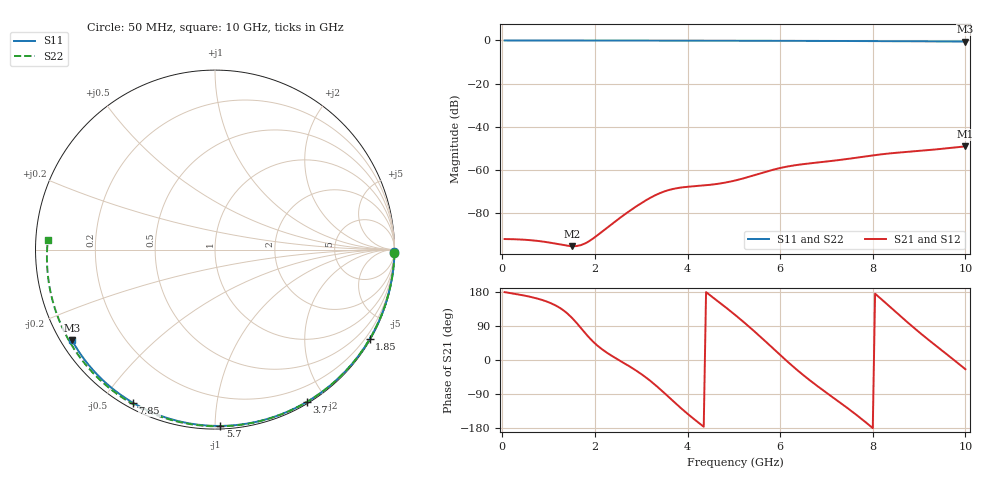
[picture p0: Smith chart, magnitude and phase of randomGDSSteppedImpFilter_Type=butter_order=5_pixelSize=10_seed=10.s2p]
! freq	dB(S11)	phase(S11)	dB(S12)	phase(S12)
!  dB(S21)	phase(S21)	dB(S22)	phase(S22)
!S-par simulation data
#  GHz  S  DB  R 50
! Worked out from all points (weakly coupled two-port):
!   200 points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, 50 MHz to 10 GHz, reference 50 ohm
!   highest |S21| = -49.10 dB at 10 GHz (marker M1); lowest = -95.3 dB at 1.5 GHz (marker M2)
!   lowest |S11| = -0.5 dB at 10 GHz (marker M3), VSWR 34.33, Z = 1.58 - j14.5 ohm
!   |S11| at or under -10 dB: nowhere
!   |S22| runs from -0.6 to 0.0 dB; largest |S21 - S12| = 0
!   S11 on the Smith chart (normalised r, x): 50 MHz: open; 1.85 GHz: 0.03, -3.72; 3.7 GHz: 0.02, -1.77; 5.7 GHz: 0.02, -1.03; 7.85 GHz: 0.02, -0.60; 10 GHz: 0.03, -0.29
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0.05  -0.00 -0.8  -91.98 179.1  -91.98 179.1  -0.00 -1.0
0.75  -0.02 -12.3  -92.81 162.4  -92.81 162.4  -0.02 -14.9
1.5  -0.03 -24.4  -95.28 111.8  -95.28 111.8  -0.04 -29.5
1.75  -0.04 -28.5  -94.35 76.7  -94.35 76.7  -0.04 -34.4
1.85  -0.04 -30.1  -93.29 62.5  -93.29 62.5  -0.05 -36.3
2.65  -0.06 -42.7  -80.47 -9.7  -80.47 -9.7  -0.07 -51.5
2.7  -0.06 -43.5  -79.70 -13.4  -79.70 -13.4  -0.07 -52.5
3.1  -0.07 -49.7  -74.05 -45.9  -74.05 -45.9  -0.08 -59.9
3.4  -0.07 -54.3  -70.74 -76.2  -70.74 -76.2  -0.09 -65.5
3.7  -0.08 -58.9  -68.71 -109.7  -68.71 -109.7  -0.10 -70.9
3.95  -0.09 -62.7  -67.89 -136.8  -67.89 -136.8  -0.10 -75.5
4.65  -0.11 -73.1  -66.42 155.6  -66.42 155.6  -0.13 -88.0
5.05  -0.12 -78.9  -64.75 116.7  -64.75 116.7  -0.15 -95.0
5.7  -0.15 -88.3  -60.75 47.2  -60.75 47.2  -0.18 -106.4
6.15  -0.17 -94.7  -58.41 -3.3  -58.41 -3.3  -0.21 -114.1
6.7  -0.20 -102.4  -56.79 -59.2  -56.79 -59.2  -0.25 -123.6
7.25  -0.24 -110.0  -55.45 -108.6  -55.45 -108.6  -0.29 -133.1
7.85  -0.28 -118.2  -53.68 -164.6  -53.68 -164.6  -0.34 -143.5
8.35  -0.33 -125.0  -52.35 142.7  -52.35 142.7  -0.39 -152.3
9.2  -0.41 -136.7  -50.82 53.6  -50.82 53.6  -0.49 -167.8
9.6  -0.46 -142.2  -49.90 14.9  -49.90 14.9  -0.55 -175.4
10  -0.51 -147.7  -49.10 -24.4  -49.10 -24.4  -0.60 176.8
